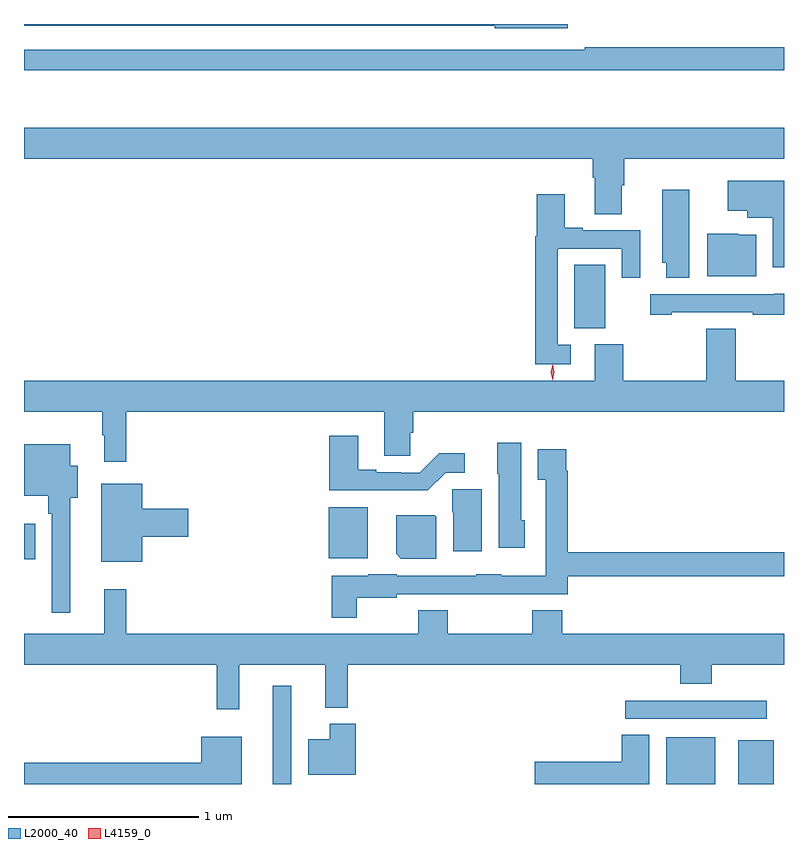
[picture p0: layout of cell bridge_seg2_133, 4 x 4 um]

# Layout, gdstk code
import gdstk
lib = gdstk.Library(unit=1e-6, precision=1e-09)
def R(c, l, rs):  # rectangles x0, y0, x1, y1
    for r in rs: c.add(gdstk.rectangle(r[:2], r[2:], *l))
def P(c, l, *ps):  # polygons
    for p in ps: c.add(gdstk.Polygon(p, *l))
L2000_40 = (2000, 40)
L4159_0 = (4159, 0)

bridge_seg2_133 = lib.new_cell('bridge_seg2_133')
R(bridge_seg2_133, L2000_40, [(478.754,600.389,478.851,600.907), (480.824,600.389,481.081,600.634), (481.202,600.389,481.39,600.619), (480.609,600.732,481.354,600.828), (477.444,601.571,477.502,601.759), (479.048,601.577,479.254,601.846), (480.341,602.788,480.502,603.122)])
P(bridge_seg2_133, L2000_40, [(480.307,604.389),(477.444,604.389),(477.444,604.38),(479.922,604.38),(479.922,604.367),(480.307,604.367)],
  [(481.444,604.267),(480.394,604.267),(480.394,604.254),(477.444,604.254),(477.444,604.146),(481.444,604.146)],
  [(480.589,603.54),(480.602,603.54),(480.602,603.68),(481.444,603.68),(481.444,603.844),(477.444,603.844),(477.444,603.68),(480.437,603.68),(480.437,603.58),(480.449,603.58),(480.449,603.388),(480.589,603.388)],
  [(481.444,603.565),(481.149,603.565),(481.149,603.407),(481.25,603.407),(481.25,603.368),(481.385,603.368),(481.385,603.108),(481.444,603.108)],
  [(480.946,603.517),(480.803,603.517),(480.803,603.132),(480.824,603.132),(480.824,603.054),(480.946,603.054)],
  [(480.322,602.7),(480.253,602.7),(480.253,603.207),(480.591,603.207),(480.591,603.054),(480.687,603.054),(480.687,603.303),(480.385,603.303),(480.385,603.316),(480.289,603.316),(480.289,603.493),(480.143,603.493),(480.143,603.272),(480.135,603.272),(480.135,602.597),(480.322,602.597)],
  [(481.297,603.28),(481.203,603.28),(481.203,603.286),(481.04,603.286),(481.04,603.062),(481.297,603.062)],
  [(480.853,602.871),(481.279,602.871),(481.279,602.859),(481.444,602.859),(481.444,602.968),(481.393,602.968),(481.393,602.967),(480.741,602.967),(480.741,602.859),(480.853,602.859)],
  [(477.983,602.348),(479.339,602.348),(479.339,602.116),(479.478,602.116),(479.478,602.238),(479.492,602.238),(479.492,602.348),(481.444,602.348),(481.444,602.512),(481.191,602.512),(481.191,602.786),(481.036,602.786),(481.036,602.512),(480.597,602.512),(480.597,602.703),(480.449,602.703),(480.449,602.512),(477.444,602.512),(477.444,602.348),(477.855,602.348),(477.855,602.225),(477.866,602.225),(477.866,602.085),(477.983,602.085)],
  [(479.664,602.028),(479.764,602.028),(479.764,602.131),(479.629,602.131),(479.526,602.028),(479.426,602.028),(479.426,602.031),(479.299,602.031),(479.299,602.044),(479.203,602.044),(479.203,602.221),(479.051,602.221),(479.051,601.934),(479.569,601.934)],
  [(480.079,601.776),(480.061,601.776),(480.061,602.185),(479.936,602.185),(479.936,602.022),(479.942,602.022),(479.942,601.632),(480.079,601.632)],
  [(477.688,601.895),(477.727,601.895),(477.727,602.065),(477.688,602.065),(477.688,602.176),(477.444,602.176),(477.444,601.907),(477.571,601.907),(477.571,601.811),(477.591,601.811),(477.591,601.29),(477.688,601.29)],
  [(479.194,601.37),(479.406,601.37),(479.406,601.389),(479.823,601.389),(479.823,601.388),(480.055,601.388),(480.055,601.389),(480.305,601.389),(480.305,601.482),(481.444,601.482),(481.444,601.61),(480.305,601.61),(480.305,602.039),(480.298,602.039),(480.298,602.152),(480.149,602.152),(480.149,601.991),(480.189,601.991),(480.189,601.486),(479.955,601.486),(479.955,601.492),(479.823,601.492),(479.823,601.485),(479.406,601.485),(479.406,601.492),(479.256,601.492),(479.256,601.486),(479.065,601.486),(479.065,601.265),(479.194,601.265)],
  [(478.066,601.691),(478.309,601.691),(478.309,601.838),(478.066,601.838),(478.066,601.969),(477.851,601.969),(477.851,601.559),(478.066,601.559)],
  [(479.854,601.941),(479.698,601.941),(479.698,601.818),(479.702,601.818),(479.702,601.614),(479.854,601.614)],
  [(479.614,601.796),(479.606,601.804),(479.402,601.804),(479.402,601.6),(479.428,601.574),(479.614,601.574)],
  [(478.577,601.016),(479.03,601.016),(479.03,600.791),(479.147,600.791),(479.147,601.016),(480.899,601.016),(480.899,600.917),(481.064,600.917),(481.064,601.016),(481.444,601.016),(481.444,601.18),(480.278,601.18),(480.278,601.304),(480.118,601.304),(480.118,601.18),(479.673,601.18),(479.673,601.304),(479.518,601.304),(479.518,601.18),(477.983,601.18),(477.983,601.414),(477.866,601.414),(477.866,601.18),(477.444,601.18),(477.444,601.016),(478.459,601.016),(478.459,600.783),(478.577,600.783)],
  [(479.189,600.706),(479.054,600.706),(479.054,600.625),(478.94,600.625),(478.94,600.437),(479.189,600.437)],
  [(480.736,600.647),(480.59,600.647),(480.59,600.506),(480.132,600.506),(480.132,600.389),(480.736,600.389)],
  [(478.591,600.637),(478.376,600.637),(478.376,600.5),(477.444,600.5),(477.444,600.389),(478.591,600.389)])
P(bridge_seg2_133, L4159_0, [(480.226,602.515),(480.216,602.556),(480.226,602.597),(480.226,602.597),(480.227,602.597),(480.236,602.556),(480.227,602.515),(480.227,602.515)])

lib.write_gds('bridge_seg2_133.gds')
